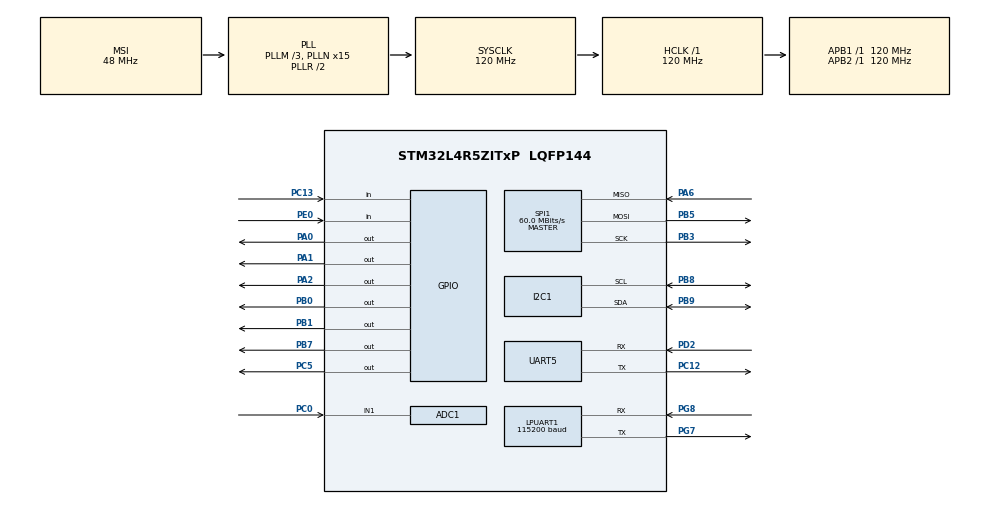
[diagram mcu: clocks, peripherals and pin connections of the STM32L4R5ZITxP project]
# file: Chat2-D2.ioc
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ADC1.Channel-0\#ChannelRegularConversion=ADC_CHANNEL_1
ADC1.ClockPrescaler=ADC_CLOCK_ASYNC_DIV2
ADC1.ContinuousConvMode=ENABLE
ADC1.DMAContinuousRequests=ENABLE
ADC1.NbrOfConversionFlag=1
ADC1.OffsetNumber-0\#ChannelRegularConversion=ADC_OFFSET_NONE
ADC1.Rank-0\#ChannelRegularConversion=1
ADC1.Resolution=ADC_RESOLUTION_12B
ADC1.SamplingTime-0\#ChannelRegularConversion=ADC_SAMPLETIME_640CYCLES_5
ADC1.master=1
Dma.ADC1.0.Direction=DMA_PERIPH_TO_MEMORY
Dma.ADC1.0.EventEnable=DISABLE
Dma.ADC1.0.Instance=DMA1_Channel1
Dma.ADC1.0.MemDataAlignment=DMA_MDATAALIGN_HALFWORD
Dma.ADC1.0.MemInc=DMA_MINC_ENABLE
Dma.ADC1.0.Mode=DMA_CIRCULAR
Dma.ADC1.0.PeriphDataAlignment=DMA_PDATAALIGN_HALFWORD
Dma.ADC1.0.PeriphInc=DMA_PINC_DISABLE
Dma.ADC1.0.Polarity=HAL_DMAMUX_REQUEST_GEN_RISING
Dma.ADC1.0.Priority=DMA_PRIORITY_LOW
Dma.ADC1.0.RequestNumber=1
Dma.ADC1.0.SignalID=NONE
Dma.ADC1.0.SyncEnable=DISABLE
Dma.ADC1.0.SyncPolarity=HAL_DMAMUX_SYNC_NO_EVENT
Dma.ADC1.0.SyncRequestNumber=1
Dma.ADC1.0.SyncSignalID=NONE
Dma.Request0=ADC1
I2C1.Timing=0x30A175AB
LPUART1.BaudRate=115200
LPUART1.WordLength=UART_WORDLENGTH_8B
Mcu.Family=STM32L4
Mcu.Name=STM32L4R5ZITxP
Mcu.Package=LQFP144
NVIC.ADC1_IRQn=true\:0\:0\:false\:false\:true\:true\:true\:true
NVIC.DMA1_Channel1_IRQn=true\:0\:0\:false\:false\:true\:false\:true\:true
NVIC.PriorityGroup=NVIC_PRIORITYGROUP_4
NVIC.TIM1_UP_TIM16_IRQn=true\:0\:0\:false\:false\:true\:true\:true\:true
PA0.Signal=GPIO_Output
PA1.Signal=GPIO_Output
PA10.Signal=USB_OTG_FS_ID
PA13\ (JTMS/SWDIO).Signal=SYS_JTMS-SWDIO
PA14\ (JTCK/SWCLK).Signal=SYS_JTCK-SWCLK
PA2.Signal=GPIO_Output
PA3.Signal=ADCx_IN8
PA4.Signal=SPI1_NSS
PA6.Mode=Full_Duplex_Master
PA6.Signal=SPI1_MISO
PA8.Signal=USB_OTG_FS_SOF
PA9.Signal=USB_OTG_FS_VBUS
PB0.Signal=GPIO_Output
PB1.Signal=GPIO_Output
PB10.Signal=S_TIM2_CH3
PB12.Signal=SAI2_FS_A
PB13.Signal=SAI2_SCK_A
PB14.Signal=S_TIM15_CH1
PB15.Signal=SAI2_SD_A
PB2.Signal=COMP1_INP
PB3\ (JTDO/TRACESWO).Mode=Full_Duplex_Master
PB3\ (JTDO/TRACESWO).Signal=SPI1_SCK
PB4\ (NJTRST).Signal=SPI3_MISO
PB5.Mode=Full_Duplex_Master
PB5.Signal=SPI1_MOSI
PB6.Signal=COMP2_INP
PB7.Signal=GPIO_Output
PB8.Mode=I2C
PB8.Signal=I2C1_SCL
PB9.Mode=I2C
PB9.Signal=I2C1_SDA
PC0.Signal=ADCx_IN1
PC1.Signal=ADCx_IN2
PC10.Signal=SDMMC1_D2
PC11.Signal=SDMMC1_D3
PC12.Mode=Asynchronous
PC12.Signal=UART5_TX
PC13.Signal=GPIO_Input
PC14-OSC32_IN\ (PC14).Signal=RCC_OSC32_IN
PC15-OSC32_OUT\ (PC15).Signal=RCC_OSC32_OUT
PC2.Signal=ADCx_IN3
PC3.Signal=ADCx_IN4
PC4.Signal=ADCx_IN13
PC5.Signal=GPIO_Output
PC6.Signal=SAI2_MCLK_A
PC7.Signal=S_TIM3_CH2
PC8.Signal=SDMMC1_D0
PC9.Signal=SDMMC1_D1
PD0.Signal=CAN1_RX
PD14.Signal=S_TIM4_CH3
PD15.Signal=S_TIM4_CH4
PD2.Mode=Asynchronous
PD2.Signal=UART5_RX
PD3.Signal=USART2_CTS
PD4.Signal=USART2_RTS
PD5.Signal=USART2_TX
PD6.Signal=USART2_RX
PD8.Signal=USART3_TX
PD9.Signal=USART3_RX
PE0.Signal=GPIO_Input
PE10.Signal=TIM1_CH2N
PE11.Signal=S_TIM1_CH2
PE12.Signal=TIM1_CH3N
PE13.Signal=S_TIM1_CH3
PE14.Signal=TIM1_BKIN2
PE15.Signal=TIM1_BKIN
PE2.Signal=SAI1_MCLK_A
PE3.Signal=SAI1_SD_B
PE7.Signal=S_TIM1_ETR
PE8.Signal=TIM1_CH1N
PE9.Signal=S_TIM1_CH1
PF0.Signal=I2C2_SDA
PF1.Signal=I2C2_SCL
PF2.Signal=I2C2_SMBA
PF7.Signal=SAI1_MCLK_B
PG7.Mode=Asynchronous
PG7.Signal=LPUART1_TX
PG8.Mode=Asynchronous
PG8.Signal=LPUART1_RX
PH0-OSC_IN\ (PH0).Signal=RCC_OSC_IN
PH1-OSC_OUT\ (PH1).Signal=RCC_OSC_OUT
ProjectManager.HeapSize=0x200
ProjectManager.StackSize=0x400
ProjectManager.TargetToolchain=STM32CubeIDE
RCC.ADCFreq_Value=96000000
RCC.AHBFreq_Value=120000000
RCC.APB1Freq_Value=120000000
RCC.APB1TimFreq_Value=120000000
RCC.APB2Freq_Value=120000000
RCC.APB2TimFreq_Value=120000000
RCC.CortexFreq_Value=120000000
RCC.HCLKFreq_Value=120000000
RCC.HSE_VALUE=8000000
RCC.HSI48_VALUE=48000000
RCC.HSI_VALUE=16000000
RCC.LSE_VALUE=32768
RCC.MSIClockRange=RCC_MSIRANGE_11
RCC.MSI_VALUE=48000000
RCC.PLLM1=3
RCC.PLLM2=4
RCC.PLLN=15
RCC.PLLSAI1N=16
RCC.SYSCLKFreq_VALUE=120000000
RCC.SYSCLKSource=RCC_SYSCLKSOURCE_PLLCLK
RCC.USBFreq_Value=96000000
RCC.VCOOutputFreq_Value=240000000
SH.ADCx_IN1.0=ADC1_IN1,IN1-Single-Ended
SH.ADCx_IN13.0=ADC1_IN13
SH.ADCx_IN2.0=ADC1_IN2
SH.ADCx_IN3.0=ADC1_IN3
SH.ADCx_IN4.0=ADC1_IN4
SH.ADCx_IN8.0=ADC1_IN8
SH.S_TIM15_CH1.0=TIM15_CH1
SH.S_TIM1_CH1.0=TIM1_CH1
SH.S_TIM1_CH2.0=TIM1_CH2
SH.S_TIM1_CH3.0=TIM1_CH3
SH.S_TIM1_ETR.0=TIM1_ETR
SH.S_TIM2_CH3.0=TIM2_CH3
SH.S_TIM3_CH2.0=TIM3_CH2
SH.S_TIM4_CH3.0=TIM4_CH3
SH.S_TIM4_CH4.0=TIM4_CH4
SPI1.BaudRatePrescaler=SPI_BAUDRATEPRESCALER_2
SPI1.CalculateBaudRate=60.0 MBits/s
SPI1.DataSize=SPI_DATASIZE_8BIT
SPI1.Direction=SPI_DIRECTION_2LINES
SPI1.Mode=SPI_MODE_MASTER
SPI1.NSSPMode=SPI_NSS_PULSE_DISABLE
SPI1.VirtualType=VM_MASTER
TIM16.AutoReloadPreload=TIM_AUTORELOAD_PRELOAD_ENABLE
TIM16.Period=32
TIM16.Prescaler=7680
VP_TIM16_VS_ClockSourceINT.Mode=Enable_Timer
board=NUCLEO-L4R5ZI-P

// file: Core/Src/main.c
/* USER CODE BEGIN Header */
/**
  ******************************************************************************
  * @file           : main.c
  * @brief          : Main program body
  ******************************************************************************
  * @attention
  *
  * Copyright (c) 2025 STMicroelectronics.
  * All rights reserved.
  *
  * This software is licensed under terms that can be found in the LICENSE file
  * in the root directory of this software component.
  * If no LICENSE file comes with this software, it is provided AS-IS.
  *
  ******************************************************************************
  */
/* USER CODE END Header */
#include "main.h"

/* USER CODE BEGIN Includes */
#include "ili9488.h"
#include "stdio.h"
#include <math.h>
#include <stdint.h>
#include "stdbool.h"

uint16_t heat_pixels[64]; // pixel offset

float heat_x, heat_y, heat_avg, heat_max_val;

#define HEAT_PERIPHERAL_1_R 0xD0 // 0x68
#define HEAT_PERIPHERAL_1_W 0xD1 // 0x68
#define HEAT_PERIPHERAL_2_R 0xD2 // 0x68
#define HEAT_PERIPHERAL_2_W 0xD3 // 0x68

#define HEAT_PIXEL_OFFSET 0x80 // 0x80

/* USER CODE END Includes */

/* USER CODE BEGIN PD */
#define LED_Pin GPIO_PIN_1
#define LED_GPIO_Port GPIOB
#define TFT_CS_Pin GPIO_PIN_2
#define TFT_CS_GPIO_Port GPIOA
#define TFT_RST_Pin GPIO_PIN_1
#define TFT_RST_GPIO_Port GPIOA
#define TFT_DC_Pin GPIO_PIN_0
#define TFT_DC_GPIO_Port GPIOA

#define ADC_BUF_LEN 480
/* USER CODE END PD */

ADC_HandleTypeDef hadc1;
DMA_HandleTypeDef hdma_adc1;

I2C_HandleTypeDef hi2c1;

UART_HandleTypeDef hlpuart1;
UART_HandleTypeDef huart5;

SPI_HandleTypeDef hspi1;

TIM_HandleTypeDef htim16;

/* USER CODE BEGIN PV */
char txBuffer[50];
uint16_t adc_buf[ADC_BUF_LEN];
/* USER CODE END PV */

void SystemClock_Config(void);
static void MX_GPIO_Init(void);
static void MX_DMA_Init(void);
static void MX_SPI1_Init(void);
static void MX_ADC1_Init(void);
static void MX_LPUART1_UART_Init(void);
static void MX_UART5_Init(void);
static void MX_I2C1_Init(void);
static void MX_TIM16_Init(void);

/* USER CODE BEGIN 0 */
int16_t y = 0;
int16_t y_next = 0;
uint16_t ADC_VAL = 0;
uint16_t ADC_MIN = 0;
uint16_t ADC_MAX = 0;
bool half_full;
bool full;
int16_t amplitude = 0;
int16_t amplitude_next = 0;
uint16_t ADC_VOLT = 0;
int amp = 0;
int MAX_VOLT = 0;
int MIN_VOLT = 0;
int adc_mid = 0;

float heat_min(float a, float b)	{
	return a < b ? a : b;
}

float heat_max(float a, float b)	{
	return a > b ? a : b;
}

uint16_t find_min_adc(uint16_t *buffer, uint16_t size) {
    uint16_t min_val = buffer[0];  // Initialize with first element
    for (int i = 0; i < size; i++) {
        if (buffer[i] < min_val) {
            min_val = buffer[i];
        }
    }
    return min_val;
}

uint16_t find_max_adc(uint16_t *buffer, uint16_t size) {
    uint16_t max_val = buffer[0];  // Initialize with first element
    for (int i = 0; i < size; i++) {
        if (buffer[i] > max_val) {
            max_val = buffer[i];
        }
    }
    return max_val;
}

void transmitCoordinates(float x, float y) {
  // Format the coordinates as a string
  int len = sprintf(txBuffer, "%.2f,%.2f\r\n", x, y);

  // Transmit the data
  HAL_UART_Transmit(&huart5, (uint8_t*)txBuffer, len, 100);
}

void heat_focus()	{

	// FROM OPEN SOURCE ARDUINO CODE

    float x = 0;
    float y = 0;
    float total = 0.0;

    float minVal = 100, maxVal = 0;
    int i = 0;
    for (float yPos = 3.5; yPos > -4; yPos -= 1.0) {
        for (float xPos = 3.5; xPos > -4; xPos -= 1.0) {

        	uint16_t val = heat_pixels[i];
        	uint16_t absVal = (val & 0x7FF);
            float p = (val & 0x800) ? 0 - (float)absVal : (float)absVal;
            total += (float)val;
            p *= .25;
            x += xPos * p;
            y += yPos * p;
            minVal = heat_min(minVal, p);
            maxVal = heat_max(maxVal, p);
            i++;
        }
    }
    heat_avg = total / 64.0;
    heat_max_val = maxVal;
    x = (- x / 64.0) / 5.0;
    y = (y / 64.0) / 5.0;
    heat_y = heat_max(-1.0, heat_min(1.0, x));
    heat_x = heat_max(-1.0, heat_min(1.0, y));

}

int motor_pending_steps = 0;
int motor_next_task = 0;
int motor_interrupt_task = 0;
extern const unsigned int MOTOR_SLOWING_DOWN_STEP; // the absolute value of step that starts to slow down

void move_head(int steps)	{ // negative left, pos right
	/*
	 * This handles the case where it's already moving and you're 'updating' the movement, makes it bounce so it looks fluid
	 *    cases:
	 *      1. Not moving - just changes pending (and resets next_task)
	 *      2. Moving in same direction - just changes pending (and resets next_task)
	 *      4. Currently moving in opposite direction - changing pending just enough so it can 'bounce' and updates steps to next_task
	 */

	motor_interrupt_task = steps;

    HAL_TIM_Base_Stop_IT(&htim16); // so interrupt is never triggered
	if(motor_pending_steps == 0)	{ // if there's a next task it gets overwritten
		motor_pending_steps = steps;
		motor_next_task = 0;
	}
	HAL_TIM_Base_Start_IT(&htim16);
}

/* USER CODE END 0 */

int main(void)
{

  /* MCU Configuration--------------------------------------------------------*/

  /* Reset of all peripherals, Initializes the Flash interface and the Systick. */
  HAL_Init();

  /* Configure the system clock */
  SystemClock_Config();

  /* Initialize all configured peripherals */
  MX_GPIO_Init();
  MX_DMA_Init();
  MX_SPI1_Init();
  MX_ADC1_Init();
  MX_LPUART1_UART_Init();
  MX_UART5_Init();
  MX_I2C1_Init();
  MX_TIM16_Init();

  /* USER CODE BEGIN 2 */
  HAL_GPIO_WritePin(GPIOC, GPIO_PIN_5,  0); // initialize direction
  HAL_TIM_Base_Start_IT(&htim16);
  HAL_ADC_Start_DMA(&hadc1, (uint32_t*)adc_buf, ADC_BUF_LEN);
  /* USER CODE END 2 */

  /* Infinite loop */
  /* USER CODE BEGIN WHILE */
  int ret;
  uint8_t heat_pixel_offset[1] = {HEAT_PIXEL_OFFSET};
  static int16_t prev_y[ADC_BUF_LEN] = {0};
  float prev_x = 0, current_x = 0;
  int counter = 0;
  GPIO_PinState talking = GPIO_PIN_RESET;
  ILI9488_Init();
  HAL_Delay(1000);
  setRotation(1);
  HAL_Delay(1000);
  fillScreen(ILI9488_BLACK);

  while (1)
  {
    /* USER CODE END WHILE */

    /* USER CODE BEGIN 3 */
	// IR Sensor Code
	  ret = HAL_I2C_Master_Transmit(&hi2c1, HEAT_PERIPHERAL_2_W, &heat_pixel_offset[0], 1, 1000);
	  ret = HAL_I2C_Master_Receive(&hi2c1, HEAT_PERIPHERAL_2_R, &heat_pixels[0], 128, 1000);

	  // Calculates coordinates of hottest heat source based on IR sensor data
	  heat_focus();

	// Eyes move to specified coordinates
	  transmitCoordinates(heat_x, heat_y - 0.2);

	// Motor Code
	  counter++;
	  current_x += heat_x;
	  if(counter == 5){
		counter = 0;
		current_x = current_x / 5.0;
		if(current_x > 0.3 || current_x < -0.3){
	        // Rotates motor left or right to track the user
			move_head((-current_x *100.0)/1);
		}
		current_x = 0;
	  }
	// Mouth Display Code
	  if (full == true) {
		  ADC_MAX = find_max_adc(&adc_buf, ADC_BUF_LEN);
		  ADC_MIN = find_min_adc(&adc_buf, ADC_BUF_LEN);

		  for (int x = 0; x < ADC_BUF_LEN; x++) {

			  drawPixel(x, prev_y[x], ILI9488_BLACK);

			  adc_mid = (ADC_MAX + ADC_MIN) >> 1;

			  talking = HAL_GPIO_ReadPin(GPIOE, GPIO_PIN_0);

			  if(talking) {
			  // y coordinate calculated based on voltage of TTS audio waveform
				  amplitude = (((adc_buf[x] - adc_mid) * 160) / (ADC_MAX - ADC_MIN)); // range: [-80 80]
			  	  y = 160 + amplitude; //range: [80 240]
			  }
			  else {
			  // y coordinate calculated based on sin wave idle animation
				  static float phase = 0.0f;
				  float wiggle = sinf(phase) * 2.0f;
				  phase += 0.1f;
				  if (phase > 2 * 3.14159f) phase = 0;
				  y = 160 + (int)wiggle;
			  }

			  drawPixel(x, y, ILI9488_CYAN);
			  prev_y[x] = y;
		  }
		  full = false;
		  HAL_ADC_Start_DMA(&hadc1, (uint32_t*)adc_buf, ADC_BUF_LEN);
	  }

  }
  /* USER CODE END 3 */
}

void SystemClock_Config(void)
{
  RCC_OscInitTypeDef RCC_OscInitStruct = {0};
  RCC_ClkInitTypeDef RCC_ClkInitStruct = {0};

  /** Configure the main internal regulator output voltage
  */
  if (HAL_PWREx_ControlVoltageScaling(PWR_REGULATOR_VOLTAGE_SCALE1_BOOST) != HAL_OK)
  {
    Error_Handler();
  }

  /** Initializes the RCC Oscillators according to the specified parameters
  * in the RCC_OscInitTypeDef structure.
  */
  RCC_OscInitStruct.OscillatorType = RCC_OSCILLATORTYPE_MSI;
  RCC_OscInitStruct.MSIState = RCC_MSI_ON;
  RCC_OscInitStruct.MSICalibrationValue = 0;
  RCC_OscInitStruct.MSIClockRange = RCC_MSIRANGE_11;
  RCC_OscInitStruct.PLL.PLLState = RCC_PLL_ON;
  RCC_OscInitStruct.PLL.PLLSource = RCC_PLLSOURCE_MSI;
  RCC_OscInitStruct.PLL.PLLM = 3;
  RCC_OscInitStruct.PLL.PLLN = 15;
  RCC_OscInitStruct.PLL.PLLP = RCC_PLLP_DIV2;
  RCC_OscInitStruct.PLL.PLLQ = RCC_PLLQ_DIV2;
  RCC_OscInitStruct.PLL.PLLR = RCC_PLLR_DIV2;
  if (HAL_RCC_OscConfig(&RCC_OscInitStruct) != HAL_OK)
  {
    Error_Handler();
  }

  /** Initializes the CPU, AHB and APB buses clocks
  */
  RCC_ClkInitStruct.ClockType = RCC_CLOCKTYPE_HCLK|RCC_CLOCKTYPE_SYSCLK
                              |RCC_CLOCKTYPE_PCLK1|RCC_CLOCKTYPE_PCLK2;
  RCC_ClkInitStruct.SYSCLKSource = RCC_SYSCLKSOURCE_PLLCLK;
  RCC_ClkInitStruct.AHBCLKDivider = RCC_SYSCLK_DIV1;
  RCC_ClkInitStruct.APB1CLKDivider = RCC_HCLK_DIV1;
  RCC_ClkInitStruct.APB2CLKDivider = RCC_HCLK_DIV1;

  if (HAL_RCC_ClockConfig(&RCC_ClkInitStruct, FLASH_LATENCY_5) != HAL_OK)
  {
    Error_Handler();
  }
}

static void MX_ADC1_Init(void)
{

  ADC_ChannelConfTypeDef sConfig = {0};

  /** Common config
  */
  hadc1.Instance = ADC1;
  hadc1.Init.ClockPrescaler = ADC_CLOCK_ASYNC_DIV2;
  hadc1.Init.Resolution = ADC_RESOLUTION_12B;
  hadc1.Init.DataAlign = ADC_DATAALIGN_RIGHT;
  hadc1.Init.ScanConvMode = ADC_SCAN_DISABLE;
  hadc1.Init.EOCSelection = ADC_EOC_SINGLE_CONV;
  hadc1.Init.LowPowerAutoWait = DISABLE;
  hadc1.Init.ContinuousConvMode = ENABLE;
  hadc1.Init.NbrOfConversion = 1;
  hadc1.Init.DiscontinuousConvMode = DISABLE;
  hadc1.Init.ExternalTrigConv = ADC_SOFTWARE_START;
  hadc1.Init.ExternalTrigConvEdge = ADC_EXTERNALTRIGCONVEDGE_NONE;
  hadc1.Init.DMAContinuousRequests = ENABLE;
  hadc1.Init.Overrun = ADC_OVR_DATA_PRESERVED;
  hadc1.Init.OversamplingMode = DISABLE;
  if (HAL_ADC_Init(&hadc1) != HAL_OK)
  {
    Error_Handler();
  }

  /** Configure Regular Channel
  */
  sConfig.Channel = ADC_CHANNEL_1;
  sConfig.Rank = ADC_REGULAR_RANK_1;
  sConfig.SamplingTime = ADC_SAMPLETIME_640CYCLES_5;
  sConfig.SingleDiff = ADC_SINGLE_ENDED;
  sConfig.OffsetNumber = ADC_OFFSET_NONE;
  sConfig.Offset = 0;
  if (HAL_ADC_ConfigChannel(&hadc1, &sConfig) != HAL_OK)
  {
    Error_Handler();
  }

}

static void MX_I2C1_Init(void)
{

  hi2c1.Instance = I2C1;
  hi2c1.Init.Timing = 0x30A175AB;
  hi2c1.Init.OwnAddress1 = 0;
  hi2c1.Init.AddressingMode = I2C_ADDRESSINGMODE_7BIT;
  hi2c1.Init.DualAddressMode = I2C_DUALADDRESS_DISABLE;
  hi2c1.Init.OwnAddress2 = 0;
  hi2c1.Init.OwnAddress2Masks = I2C_OA2_NOMASK;
  hi2c1.Init.GeneralCallMode = I2C_GENERALCALL_DISABLE;
  hi2c1.Init.NoStretchMode = I2C_NOSTRETCH_DISABLE;
  if (HAL_I2C_Init(&hi2c1) != HAL_OK)
  {
    Error_Handler();
  }

  /** Configure Analogue filter
  */
  if (HAL_I2CEx_ConfigAnalogFilter(&hi2c1, I2C_ANALOGFILTER_ENABLE) != HAL_OK)
  {
    Error_Handler();
  }

  /** Configure Digital filter
  */
  if (HAL_I2CEx_ConfigDigitalFilter(&hi2c1, 0) != HAL_OK)
  {
    Error_Handler();
  }

}

static void MX_LPUART1_UART_Init(void)
{

  hlpuart1.Instance = LPUART1;
  hlpuart1.Init.BaudRate = 115200;
  hlpuart1.Init.WordLength = UART_WORDLENGTH_8B;
  hlpuart1.Init.StopBits = UART_STOPBITS_1;
  hlpuart1.Init.Parity = UART_PARITY_NONE;
  hlpuart1.Init.Mode = UART_MODE_TX_RX;
  hlpuart1.Init.HwFlowCtl = UART_HWCONTROL_NONE;
  hlpuart1.Init.OneBitSampling = UART_ONE_BIT_SAMPLE_DISABLE;
  hlpuart1.Init.ClockPrescaler = UART_PRESCALER_DIV1;
  hlpuart1.AdvancedInit.AdvFeatureInit = UART_ADVFEATURE_NO_INIT;
  hlpuart1.FifoMode = UART_FIFOMODE_DISABLE;
  if (HAL_UART_Init(&hlpuart1) != HAL_OK)
  {
    Error_Handler();
  }
  if (HAL_UARTEx_SetTxFifoThreshold(&hlpuart1, UART_TXFIFO_THRESHOLD_1_8) != HAL_OK)
  {
    Error_Handler();
  }
  if (HAL_UARTEx_SetRxFifoThreshold(&hlpuart1, UART_RXFIFO_THRESHOLD_1_8) != HAL_OK)
  {
    Error_Handler();
  }
  if (HAL_UARTEx_DisableFifoMode(&hlpuart1) != HAL_OK)
  {
    Error_Handler();
  }

}

static void MX_UART5_Init(void)
{

  huart5.Instance = UART5;
  huart5.Init.BaudRate = 115200;
  huart5.Init.WordLength = UART_WORDLENGTH_8B;
  huart5.Init.StopBits = UART_STOPBITS_1;
  huart5.Init.Parity = UART_PARITY_NONE;
  huart5.Init.Mode = UART_MODE_TX_RX;
  huart5.Init.HwFlowCtl = UART_HWCONTROL_NONE;
  huart5.Init.OverSampling = UART_OVERSAMPLING_16;
  huart5.Init.OneBitSampling = UART_ONE_BIT_SAMPLE_DISABLE;
  huart5.Init.ClockPrescaler = UART_PRESCALER_DIV1;
  huart5.AdvancedInit.AdvFeatureInit = UART_ADVFEATURE_NO_INIT;
  if (HAL_UART_Init(&huart5) != HAL_OK)
  {
    Error_Handler();
  }
  if (HAL_UARTEx_SetTxFifoThreshold(&huart5, UART_TXFIFO_THRESHOLD_1_8) != HAL_OK)
  {
    Error_Handler();
  }
  if (HAL_UARTEx_SetRxFifoThreshold(&huart5, UART_RXFIFO_THRESHOLD_1_8) != HAL_OK)
  {
    Error_Handler();
  }
  if (HAL_UARTEx_DisableFifoMode(&huart5) != HAL_OK)
  {
    Error_Handler();
  }

}

static void MX_SPI1_Init(void)
{

  /* SPI1 parameter configuration*/
  hspi1.Instance = SPI1;
  hspi1.Init.Mode = SPI_MODE_MASTER;
  hspi1.Init.Direction = SPI_DIRECTION_2LINES;
  hspi1.Init.DataSize = SPI_DATASIZE_8BIT;
  hspi1.Init.CLKPolarity = SPI_POLARITY_LOW;
  hspi1.Init.CLKPhase = SPI_PHASE_1EDGE;
  hspi1.Init.NSS = SPI_NSS_SOFT;
  hspi1.Init.BaudRatePrescaler = SPI_BAUDRATEPRESCALER_2;
  hspi1.Init.FirstBit = SPI_FIRSTBIT_MSB;
  hspi1.Init.TIMode = SPI_TIMODE_DISABLE;
  hspi1.Init.CRCCalculation = SPI_CRCCALCULATION_DISABLE;
  hspi1.Init.CRCPolynomial = 7;
  hspi1.Init.CRCLength = SPI_CRC_LENGTH_DATASIZE;
  hspi1.Init.NSSPMode = SPI_NSS_PULSE_DISABLE;
  if (HAL_SPI_Init(&hspi1) != HAL_OK)
  {
    Error_Handler();
  }

}

static void MX_TIM16_Init(void)
{

  htim16.Instance = TIM16;
  htim16.Init.Prescaler = 7680;
  htim16.Init.CounterMode = TIM_COUNTERMODE_UP;
  htim16.Init.Period = 32;
  htim16.Init.ClockDivision = TIM_CLOCKDIVISION_DIV1;
  htim16.Init.RepetitionCounter = 0;
  htim16.Init.AutoReloadPreload = TIM_AUTORELOAD_PRELOAD_ENABLE;
  if (HAL_TIM_Base_Init(&htim16) != HAL_OK)
  {
    Error_Handler();
  }

}

static void MX_DMA_Init(void)
{

  /* DMA controller clock enable */
  __HAL_RCC_DMAMUX1_CLK_ENABLE();
  __HAL_RCC_DMA1_CLK_ENABLE();

  /* DMA interrupt init */
  /* DMA1_Channel1_IRQn interrupt configuration */
  HAL_NVIC_SetPriority(DMA1_Channel1_IRQn, 0, 0);
  HAL_NVIC_EnableIRQ(DMA1_Channel1_IRQn);

}

static void MX_GPIO_Init(void)
{
  GPIO_InitTypeDef GPIO_InitStruct = {0};

  /* GPIO Ports Clock Enable */
  __HAL_RCC_GPIOE_CLK_ENABLE();
  __HAL_RCC_GPIOC_CLK_ENABLE();
  __HAL_RCC_GPIOF_CLK_ENABLE();
  __HAL_RCC_GPIOH_CLK_ENABLE();
  __HAL_RCC_GPIOA_CLK_ENABLE();
  __HAL_RCC_GPIOB_CLK_ENABLE();
  __HAL_RCC_GPIOD_CLK_ENABLE();
  __HAL_RCC_GPIOG_CLK_ENABLE();
  HAL_PWREx_EnableVddIO2();

  /*Configure GPIO pin Output Level */
  HAL_GPIO_WritePin(GPIOA, GPIO_PIN_0|GPIO_PIN_1|GPIO_PIN_2, GPIO_PIN_RESET);

  /*Configure GPIO pin Output Level */
  HAL_GPIO_WritePin(GPIOC, GPIO_PIN_5, GPIO_PIN_RESET);

  /*Configure GPIO pin Output Level */
  HAL_GPIO_WritePin(GPIOB, GPIO_PIN_0|GPIO_PIN_1|GPIO_PIN_7, GPIO_PIN_RESET);

  /*Configure GPIO pins : PE2 PE3 */
  GPIO_InitStruct.Pin = GPIO_PIN_2|GPIO_PIN_3;
  GPIO_InitStruct.Mode = GPIO_MODE_AF_PP;
  GPIO_InitStruct.Pull = GPIO_NOPULL;
  GPIO_InitStruct.Speed = GPIO_SPEED_FREQ_LOW;
  GPIO_InitStruct.Alternate = GPIO_AF13_SAI1;
  HAL_GPIO_Init(GPIOE, &GPIO_InitStruct);

  /*Configure GPIO pin : PC13 */
  GPIO_InitStruct.Pin = GPIO_PIN_13;
  GPIO_InitStruct.Mode = GPIO_MODE_INPUT;
  GPIO_InitStruct.Pull = GPIO_NOPULL;
  HAL_GPIO_Init(GPIOC, &GPIO_InitStruct);

  /*Configure GPIO pins : PF0 PF1 PF2 */
  GPIO_InitStruct.Pin = GPIO_PIN_0|GPIO_PIN_1|GPIO_PIN_2;
  GPIO_InitStruct.Mode = GPIO_MODE_AF_OD;
  GPIO_InitStruct.Pull = GPIO_NOPULL;
  GPIO_InitStruct.Speed = GPIO_SPEED_FREQ_VERY_HIGH;
  GPIO_InitStruct.Alternate = GPIO_AF4_I2C2;
  HAL_GPIO_Init(GPIOF, &GPIO_InitStruct);

  /*Configure GPIO pin : PF7 */
  GPIO_InitStruct.Pin = GPIO_PIN_7;
  GPIO_InitStruct.Mode = GPIO_MODE_AF_PP;
  GPIO_InitStruct.Pull = GPIO_NOPULL;
  GPIO_InitStruct.Speed = GPIO_SPEED_FREQ_LOW;
  GPIO_InitStruct.Alternate = GPIO_AF13_SAI1;
  HAL_GPIO_Init(GPIOF, &GPIO_InitStruct);

  /*Configure GPIO pins : PA0 PA1 PA2 */
  GPIO_InitStruct.Pin = GPIO_PIN_0|GPIO_PIN_1|GPIO_PIN_2;
  GPIO_InitStruct.Mode = GPIO_MODE_OUTPUT_PP;
  GPIO_InitStruct.Pull = GPIO_NOPULL;
  GPIO_InitStruct.Speed = GPIO_SPEED_FREQ_LOW;
  HAL_GPIO_Init(GPIOA, &GPIO_InitStruct);

  /*Configure GPIO pin : PC5 */
  GPIO_InitStruct.Pin = GPIO_PIN_5;
  GPIO_InitStruct.Mode = GPIO_MODE_OUTPUT_PP;
  GPIO_InitStruct.Pull = GPIO_NOPULL;
  GPIO_InitStruct.Speed = GPIO_SPEED_FREQ_LOW;
  HAL_GPIO_Init(GPIOC, &GPIO_InitStruct);

  /*Configure GPIO pins : PB0 PB1 PB7 */
  GPIO_InitStruct.Pin = GPIO_PIN_0|GPIO_PIN_1|GPIO_PIN_7;
  GPIO_InitStruct.Mode = GPIO_MODE_OUTPUT_PP;
  GPIO_InitStruct.Pull = GPIO_NOPULL;
  GPIO_InitStruct.Speed = GPIO_SPEED_FREQ_LOW;
  HAL_GPIO_Init(GPIOB, &GPIO_InitStruct);

  /*Configure GPIO pins : PB2 PB6 */
  GPIO_InitStruct.Pin = GPIO_PIN_2|GPIO_PIN_6;
  GPIO_InitStruct.Mode = GPIO_MODE_ANALOG;
  GPIO_InitStruct.Pull = GPIO_NOPULL;
  HAL_GPIO_Init(GPIOB, &GPIO_InitStruct);

  /*Configure GPIO pins : PE7 PE8 PE9 PE10
                           PE11 PE12 PE13 */
  GPIO_InitStruct.Pin = GPIO_PIN_7|GPIO_PIN_8|GPIO_PIN_9|GPIO_PIN_10
                          |GPIO_PIN_11|GPIO_PIN_12|GPIO_PIN_13;
  GPIO_InitStruct.Mode = GPIO_MODE_AF_PP;
  GPIO_InitStruct.Pull = GPIO_NOPULL;
  GPIO_InitStruct.Speed = GPIO_SPEED_FREQ_LOW;
  GPIO_InitStruct.Alternate = GPIO_AF1_TIM1;
  HAL_GPIO_Init(GPIOE, &GPIO_InitStruct);

  /*Configure GPIO pins : PE14 PE15 */
  GPIO_InitStruct.Pin = GPIO_PIN_14|GPIO_PIN_15;
  GPIO_InitStruct.Mode = GPIO_MODE_AF_PP;
  GPIO_InitStruct.Pull = GPIO_NOPULL;
  GPIO_InitStruct.Speed = GPIO_SPEED_FREQ_LOW;
  GPIO_InitStruct.Alternate = GPIO_AF3_TIM1_COMP1;
  HAL_GPIO_Init(GPIOE, &GPIO_InitStruct);

  /*Configure GPIO pin : PB10 */
  GPIO_InitStruct.Pin = GPIO_PIN_10;
  GPIO_InitStruct.Mode = GPIO_MODE_AF_PP;
  GPIO_InitStruct.Pull = GPIO_NOPULL;
  GPIO_InitStruct.Speed = GPIO_SPEED_FREQ_LOW;
  GPIO_InitStruct.Alternate = GPIO_AF1_TIM2;
  HAL_GPIO_Init(GPIOB, &GPIO_InitStruct);

  /*Configure GPIO pins : PB12 PB13 PB15 */
  GPIO_InitStruct.Pin = GPIO_PIN_12|GPIO_PIN_13|GPIO_PIN_15;
  GPIO_InitStruct.Mode = GPIO_MODE_AF_PP;
  GPIO_InitStruct.Pull = GPIO_NOPULL;
  GPIO_InitStruct.Speed = GPIO_SPEED_FREQ_LOW;
  GPIO_InitStruct.Alternate = GPIO_AF13_SAI2;
  HAL_GPIO_Init(GPIOB, &GPIO_InitStruct);

  /*Configure GPIO pin : PB14 */
  GPIO_InitStruct.Pin = GPIO_PIN_14;
  GPIO_InitStruct.Mode = GPIO_MODE_AF_PP;
  GPIO_InitStruct.Pull = GPIO_NOPULL;
  GPIO_InitStruct.Speed = GPIO_SPEED_FREQ_LOW;
  GPIO_InitStruct.Alternate = GPIO_AF14_TIM15;
  HAL_GPIO_Init(GPIOB, &GPIO_InitStruct);

  /*Configure GPIO pins : PD8 PD9 */
  GPIO_InitStruct.Pin = GPIO_PIN_8|GPIO_PIN_9;
  GPIO_InitStruct.Mode = GPIO_MODE_AF_PP;
  GPIO_InitStruct.Pull = GPIO_NOPULL;
  GPIO_InitStruct.Speed = GPIO_SPEED_FREQ_VERY_HIGH;
  GPIO_InitStruct.Alternate = GPIO_AF7_USART3;
  HAL_GPIO_Init(GPIOD, &GPIO_InitStruct);

  /*Configure GPIO pins : PD14 PD15 */
  GPIO_InitStruct.Pin = GPIO_PIN_14|GPIO_PIN_15;
  GPIO_InitStruct.Mode = GPIO_MODE_AF_PP;
  GPIO_InitStruct.Pull = GPIO_NOPULL;
  GPIO_InitStruct.Speed = GPIO_SPEED_FREQ_LOW;
  GPIO_InitStruct.Alternate = GPIO_AF2_TIM4;
  HAL_GPIO_Init(GPIOD, &GPIO_InitStruct);

  /*Configure GPIO pin : PC6 */
  GPIO_InitStruct.Pin = GPIO_PIN_6;
  GPIO_InitStruct.Mode = GPIO_MODE_AF_PP;
  GPIO_InitStruct.Pull = GPIO_NOPULL;
  GPIO_InitStruct.Speed = GPIO_SPEED_FREQ_LOW;
  GPIO_InitStruct.Alternate = GPIO_AF13_SAI2;
  HAL_GPIO_Init(GPIOC, &GPIO_InitStruct);

  /*Configure GPIO pin : PC7 */
  GPIO_InitStruct.Pin = GPIO_PIN_7;
  GPIO_InitStruct.Mode = GPIO_MODE_AF_PP;
  GPIO_InitStruct.Pull = GPIO_NOPULL;
  GPIO_InitStruct.Speed = GPIO_SPEED_FREQ_LOW;
  GPIO_InitStruct.Alternate = GPIO_AF2_TIM3;
  HAL_GPIO_Init(GPIOC, &GPIO_InitStruct);

  /*Configure GPIO pins : PC8 PC9 PC10 PC11 */
  GPIO_InitStruct.Pin = GPIO_PIN_8|GPIO_PIN_9|GPIO_PIN_10|GPIO_PIN_11;
  GPIO_InitStruct.Mode = GPIO_MODE_AF_PP;
  GPIO_InitStruct.Pull = GPIO_NOPULL;
  GPIO_InitStruct.Speed = GPIO_SPEED_FREQ_VERY_HIGH;
  GPIO_InitStruct.Alternate = GPIO_AF12_SDMMC1;
  HAL_GPIO_Init(GPIOC, &GPIO_InitStruct);

  /*Configure GPIO pins : PA8 PA10 */
  GPIO_InitStruct.Pin = GPIO_PIN_8|GPIO_PIN_10;
  GPIO_InitStruct.Mode = GPIO_MODE_AF_PP;
  GPIO_InitStruct.Pull = GPIO_NOPULL;
  GPIO_InitStruct.Speed = GPIO_SPEED_FREQ_VERY_HIGH;
  GPIO_InitStruct.Alternate = GPIO_AF10_OTG_FS;
  HAL_GPIO_Init(GPIOA, &GPIO_InitStruct);

  /*Configure GPIO pin : PA9 */
  GPIO_InitStruct.Pin = GPIO_PIN_9;
  GPIO_InitStruct.Mode = GPIO_MODE_INPUT;
  GPIO_InitStruct.Pull = GPIO_NOPULL;
  HAL_GPIO_Init(GPIOA, &GPIO_InitStruct);

  /*Configure GPIO pin : PD0 */
  GPIO_InitStruct.Pin = GPIO_PIN_0;
  GPIO_InitStruct.Mode = GPIO_MODE_AF_PP;
  GPIO_InitStruct.Pull = GPIO_NOPULL;
  GPIO_InitStruct.Speed = GPIO_SPEED_FREQ_VERY_HIGH;
  GPIO_InitStruct.Alternate = GPIO_AF9_CAN1;
  HAL_GPIO_Init(GPIOD, &GPIO_InitStruct);

  /*Configure GPIO pins : PD3 PD4 PD5 PD6 */
  GPIO_InitStruct.Pin = GPIO_PIN_3|GPIO_PIN_4|GPIO_PIN_5|GPIO_PIN_6;
  GPIO_InitStruct.Mode = GPIO_MODE_AF_PP;
  GPIO_InitStruct.Pull = GPIO_NOPULL;
  GPIO_InitStruct.Speed = GPIO_SPEED_FREQ_VERY_HIGH;
  GPIO_InitStruct.Alternate = GPIO_AF7_USART2;
  HAL_GPIO_Init(GPIOD, &GPIO_InitStruct);

  /*Configure GPIO pin : PB4 */
  GPIO_InitStruct.Pin = GPIO_PIN_4;
  GPIO_InitStruct.Mode = GPIO_MODE_AF_PP;
  GPIO_InitStruct.Pull = GPIO_NOPULL;
  GPIO_InitStruct.Speed = GPIO_SPEED_FREQ_VERY_HIGH;
  GPIO_InitStruct.Alternate = GPIO_AF6_SPI3;
  HAL_GPIO_Init(GPIOB, &GPIO_InitStruct);

  /*Configure GPIO pin : PE0 */
  GPIO_InitStruct.Pin = GPIO_PIN_0;
  GPIO_InitStruct.Mode = GPIO_MODE_INPUT;
  GPIO_InitStruct.Pull = GPIO_NOPULL;
  HAL_GPIO_Init(GPIOE, &GPIO_InitStruct);

}

/* USER CODE BEGIN 4 */

void HAL_ADC_ConvHalfCpltCallback(ADC_HandleTypeDef* hadc)
{

}

void HAL_ADC_ErrorCallback(ADC_HandleTypeDef *hadc)
{

}

void HAL_ADC_ConvCpltCallback(ADC_HandleTypeDef* hadc)
{
	full = true;
	HAL_ADC_Stop_DMA(&hadc1);
}

#ifdef __GNUC__
#define PUTCHAR_PROTOTYPE int __io_putchar(int ch)
#else
  #define PUTCHAR_PROTOTYPE int fputc(int ch, FILE *f)
#endif /* __GNUC__ */
PUTCHAR_PROTOTYPE
{
  HAL_UART_Transmit(&hlpuart1, (uint8_t *)&ch, 1, 0xFFFF);
  return ch;
}

/* USER CODE END 4 */

void Error_Handler(void)
{
  __disable_irq();
  while (1)
  {
  }
}
